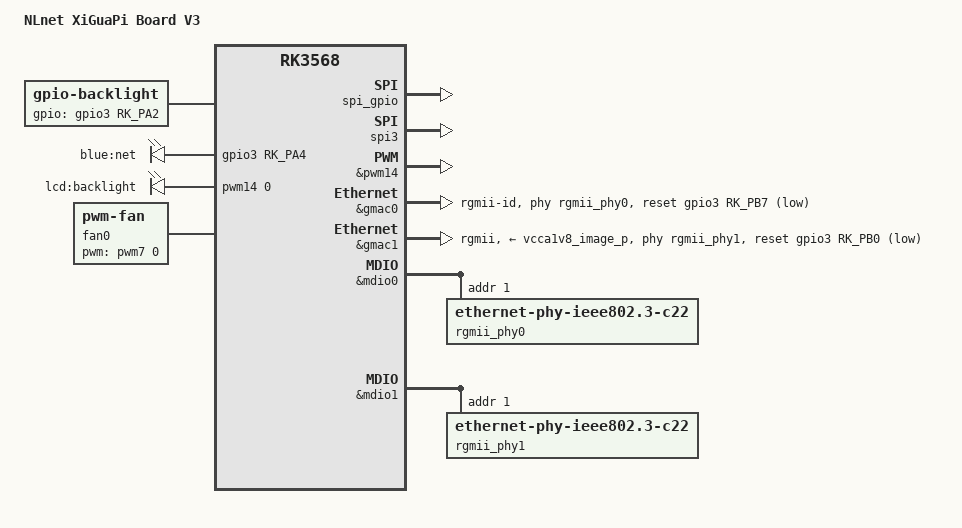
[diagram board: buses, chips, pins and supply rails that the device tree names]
// SPDX-License-Identifier: (GPL-2.0+ OR MIT)

/dts-v1/;

#include "rk3568-nlnet-xgz68.dtsi"
#include "rk3568-xgp.dts"

/ {
	model = "NLnet XiGuaPi Board V3";
	compatible = "nlnet,xgp", "rockchip,rk3568";

	aliases {
		ethernet0 = &gmac0;
		ethernet1 = &gmac1;
		led-boot = &sys_led;
		led-failsafe = &sys_led;
		led-running = &sys_led;
		led-upgrade = &sys_led;
	};

	backlight: backlight {
		compatible = "gpio-backlight";
		pinctrl-names = "default";
		pinctrl-0 = <&backlight_led_pin>;
		gpios = <&gpio3 RK_PA2 GPIO_ACTIVE_HIGH>;
		default-on;
	};

	leds {
		pinctrl-0 = <&sys_led &net_led_pin>;

		net_led: net-led {
			gpios = <&gpio3 RK_PA4 GPIO_ACTIVE_HIGH>;
			label = "blue:net";
		};
	};

	led-controller {
		compatible = "pwm-leds";

		backlight: backlight {
			label = "lcd:backlight";
			pwms = <&pwm14 0 1000000 0>;
			max-brightness = <255>;
			linux,default-trigger = "default-on";
		};
	};

	fan0: pwm-fan {
		compatible = "pwm-fan";
		pinctrl-names = "default";
		#cooling-cells = <2>;
		pwms = <&pwm7 0 40000 0>;
		cooling-levels = <0 50 80 110 140 170 200 230 255>;
	};

	spi_gpio: spi-gpio {
		compatible = "spi-gpio";
		#address-cells = <1>;
		#size-cells = <0>;
		num-chipselects = <1>;
	};

	pmu_io_domains {
		vccio5-supply = <&vcc_3v3>;
	};

	usb2phy0_host {
		pinctrl-0 = <&modem_reset_pins>;
		pinctrl-names = "default";
	};

	spi3 {
		status = "okay";
	};

	pinctrl {
		leds {
			net_led_pin: net-led-pin {
				rockchip,pins = <3 RK_PA4 RK_FUNC_GPIO &pcfg_pull_none>;
			};
		};

		display {
			spi3_display_dc_pin: spi3_display_dc_pin {
				rockchip,pins = <4 RK_PC5 RK_FUNC_GPIO &pcfg_pull_none>;
			};

			display_reset_pin: display_reset_pin {
				rockchip,pins = <4 RK_PC4 RK_FUNC_GPIO &pcfg_pull_none>;
			};
		};

		spi3 {
			spi3_sck: spi3_sck {
				rockchip,pins = <4 RK_PC2 2 &pcfg_pull_none>;
			};
			spi3_mosi: spi3_mosi {
				rockchip,pins = <4 RK_PC3 2 &pcfg_pull_none>;
			};
		};

		modem {
			modem_reset_pins: modem-reset-pins {
				rockchip,pins = <2 RK_PD7 RK_FUNC_GPIO &pcfg_pull_down>;
			};
		};
	};

	&pwm14 {
		pinctrl-0 = <&pwm14m0_pins>;
		pinctrl-names = "default";
		status = "okay";
	};

	&gmac0 {
		assigned-clocks = <&cru SCLK_GMAC0_RX_TX>, <&cru SCLK_GMAC0>;
		assigned-clock-parents = <&cru SCLK_GMAC0_RGMII_SPEED>;
		assigned-clock-rates = <0>, <125000000>;
		clock_in_out = "output";
		phy-mode = "rgmii-id";
		pinctrl-names = "default";
		pinctrl-0 = <&gmac0_miim
		             &gmac0_tx_bus2
		             &gmac0_rx_bus2
		             &gmac0_rgmii_clk
		             &gmac0_rgmii_bus>;
		snps,reset-gpio = <&gpio3 RK_PB7 GPIO_ACTIVE_LOW>;
		snps,reset-active-low;
		snps,reset-delays-us = <0 20000 100000>;
		tx_delay = <0x3c>;
		rx_delay = <0x2f>;
		phy-handle = <&rgmii_phy0>;
		status = "okay";
	};

	&gmac1 {
		assigned-clocks = <&cru SCLK_GMAC1_RX_TX>, <&cru SCLK_GMAC1>;
		assigned-clock-parents = <&cru SCLK_GMAC1_RGMII_SPEED>;
		assigned-clock-rates = <0>, <125000000>;
		clock_in_out = "output";
		phy-mode = "rgmii";
		pinctrl-names = "default";
		pinctrl-0 = <&gmac1m1_miim
		             &gmac1m1_tx_bus2
		             &gmac1m1_rx_bus2
		             &gmac1m1_rgmii_clk
		             &gmac1m1_rgmii_bus>;
		snps,reset-gpio = <&gpio3 RK_PB0 GPIO_ACTIVE_LOW>;
		snps,reset-active-low;
		snps,reset-delays-us = <0 20000 100000>;
		tx_delay = <0x3c>;
		rx_delay = <0x2f>;
		phy-handle = <&rgmii_phy1>;
		phy-supply = <&vcca1v8_image_p>;
		status = "okay";
	};

	&mdio0 {
		rgmii_phy0: ethernet-phy@0 {
			compatible = "ethernet-phy-ieee802.3-c22";
			reg = <0x1>;
		};
	};

	&mdio1 {
		rgmii_phy1: ethernet-phy@0 {
			compatible = "ethernet-phy-ieee802.3-c22";
			reg = <0x1>;
		};
	};
};
